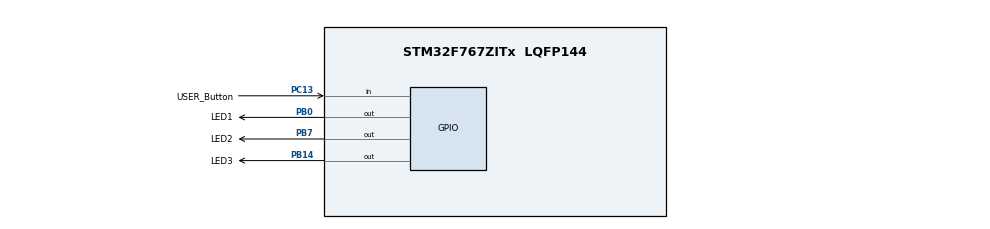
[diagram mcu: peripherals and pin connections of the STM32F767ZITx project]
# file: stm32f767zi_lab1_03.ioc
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Mcu.Family=STM32F7
Mcu.Name=STM32F767ZITx
Mcu.Package=LQFP144
NVIC.PriorityGroup=NVIC_PRIORITYGROUP_4
PB0.GPIO_Label=LED1
PB0.Signal=GPIO_Output
PB14.GPIO_Label=LED3
PB14.Signal=GPIO_Output
PB7.GPIO_Label=LED2
PB7.Signal=GPIO_Output
PC13.GPIO_Label=USER_Button
PC13.Signal=GPIO_Input
ProjectManager.HeapSize=0x200
ProjectManager.StackSize=0x400
ProjectManager.TargetToolchain=STM32CubeIDE
RCC.HSE_VALUE=25000000
RCC.HSI_VALUE=16000000
RCC.LSE_VALUE=32768
RCC.USBFreq_Value=96000000
RCC.VCOOutputFreq_Value=192000000
board=custom

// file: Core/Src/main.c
/* USER CODE BEGIN Header */
/**
  ******************************************************************************
  * @file           : main.c
  * @brief          : Main program body
  ******************************************************************************
  * @attention
  *
  * Copyright (c) 2024 STMicroelectronics.
  * All rights reserved.
  *
  * This software is licensed under terms that can be found in the LICENSE file
  * in the root directory of this software component.
  * If no LICENSE file comes with this software, it is provided AS-IS.
  *
  ******************************************************************************
  */
/* USER CODE END Header */
#include "main.h"

/* USER CODE BEGIN PV */
GPIO_PinState LED_STATES[5][3] = {
		{1,1,1},{1,1,0},{1,0,0},{0,0,0},{1,0,1}
};

int SEQUENCE[11] = {0,1,2,3,4,0,1,2,3,4,0};
/* USER CODE END PV */

void SystemClock_Config(void);
static void MX_GPIO_Init(void);

int main(void)
{

  /* MCU Configuration--------------------------------------------------------*/

  /* Reset of all peripherals, Initializes the Flash interface and the Systick. */
  HAL_Init();

  /* Configure the system clock */
  SystemClock_Config();

  /* Initialize all configured peripherals */
  MX_GPIO_Init();
  /* USER CODE BEGIN 2 */
uint8_t k;
  /* USER CODE END 2 */

  /* Infinite loop */
  /* USER CODE BEGIN WHILE */
  while (1)
  {
	  for (int i=0; i<9; i++){
		  k = SEQUENCE[i];
		  while(!HAL_GPIO_ReadPin(GPIOC, USER_Button_Pin)){}
		  HAL_Delay(1000);
		  HAL_GPIO_WritePin(GPIOB, LED1_Pin, LED_STATES[k][0]);
		  HAL_GPIO_WritePin(GPIOB, LED2_Pin, LED_STATES[k][1]);
		  HAL_GPIO_WritePin(GPIOB, LED3_Pin, LED_STATES[k][2]);
		  HAL_Delay(1000);
		  while(HAL_GPIO_ReadPin(GPIOC, USER_Button_Pin)){}
		  HAL_Delay(1000);
	  }
    /* USER CODE END WHILE */

  }
}

void SystemClock_Config(void)
{
  RCC_OscInitTypeDef RCC_OscInitStruct = {0};
  RCC_ClkInitTypeDef RCC_ClkInitStruct = {0};

  /** Configure the main internal regulator output voltage
  */
  __HAL_RCC_PWR_CLK_ENABLE();
  __HAL_PWR_VOLTAGESCALING_CONFIG(PWR_REGULATOR_VOLTAGE_SCALE3);

  /** Initializes the RCC Oscillators according to the specified parameters
  * in the RCC_OscInitTypeDef structure.
  */
  RCC_OscInitStruct.OscillatorType = RCC_OSCILLATORTYPE_HSI;
  RCC_OscInitStruct.HSIState = RCC_HSI_ON;
  RCC_OscInitStruct.HSICalibrationValue = RCC_HSICALIBRATION_DEFAULT;
  RCC_OscInitStruct.PLL.PLLState = RCC_PLL_NONE;
  if (HAL_RCC_OscConfig(&RCC_OscInitStruct) != HAL_OK)
  {
    Error_Handler();
  }

  /** Initializes the CPU, AHB and APB buses clocks
  */
  RCC_ClkInitStruct.ClockType = RCC_CLOCKTYPE_HCLK|RCC_CLOCKTYPE_SYSCLK
                              |RCC_CLOCKTYPE_PCLK1|RCC_CLOCKTYPE_PCLK2;
  RCC_ClkInitStruct.SYSCLKSource = RCC_SYSCLKSOURCE_HSI;
  RCC_ClkInitStruct.AHBCLKDivider = RCC_SYSCLK_DIV1;
  RCC_ClkInitStruct.APB1CLKDivider = RCC_HCLK_DIV1;
  RCC_ClkInitStruct.APB2CLKDivider = RCC_HCLK_DIV1;

  if (HAL_RCC_ClockConfig(&RCC_ClkInitStruct, FLASH_LATENCY_0) != HAL_OK)
  {
    Error_Handler();
  }
}

static void MX_GPIO_Init(void)
{
  GPIO_InitTypeDef GPIO_InitStruct = {0};

  /* GPIO Ports Clock Enable */
  __HAL_RCC_GPIOC_CLK_ENABLE();
  __HAL_RCC_GPIOB_CLK_ENABLE();

  /*Configure GPIO pin Output Level */
  HAL_GPIO_WritePin(GPIOB, LED1_Pin|LED3_Pin|LED2_Pin, GPIO_PIN_RESET);

  /*Configure GPIO pin : USER_Button_Pin */
  GPIO_InitStruct.Pin = USER_Button_Pin;
  GPIO_InitStruct.Mode = GPIO_MODE_INPUT;
  GPIO_InitStruct.Pull = GPIO_NOPULL;
  HAL_GPIO_Init(USER_Button_GPIO_Port, &GPIO_InitStruct);

  /*Configure GPIO pins : LED1_Pin LED3_Pin LED2_Pin */
  GPIO_InitStruct.Pin = LED1_Pin|LED3_Pin|LED2_Pin;
  GPIO_InitStruct.Mode = GPIO_MODE_OUTPUT_PP;
  GPIO_InitStruct.Pull = GPIO_NOPULL;
  GPIO_InitStruct.Speed = GPIO_SPEED_FREQ_LOW;
  HAL_GPIO_Init(GPIOB, &GPIO_InitStruct);

}

void Error_Handler(void)
{
  __disable_irq();
  while (1)
  {
  }
}
